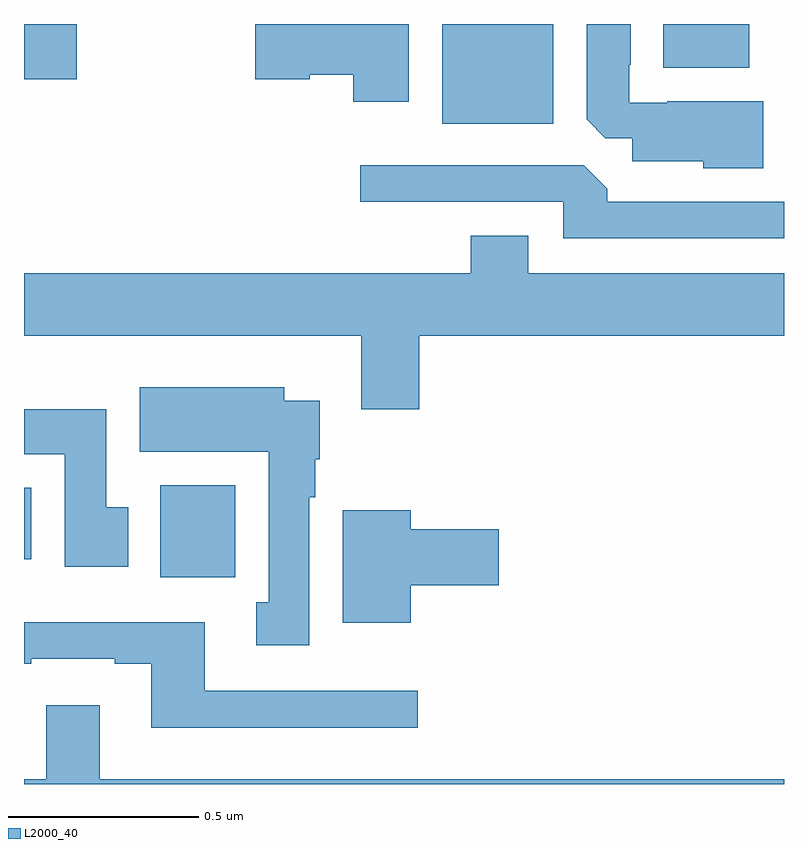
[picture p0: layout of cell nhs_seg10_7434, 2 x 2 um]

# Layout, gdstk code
import gdstk
lib = gdstk.Library(unit=1e-6, precision=1e-09)
def R(c, l, rs):  # rectangles x0, y0, x1, y1
    for r in rs: c.add(gdstk.rectangle(r[:2], r[2:], *l))
def P(c, l, *ps):  # polygons
    for p in ps: c.add(gdstk.Polygon(p, *l))
L2000_40 = (2000, 40)

nhs_seg10_7434 = lib.new_cell('nhs_seg10_7434')
R(nhs_seg10_7434, L2000_40, [(204.359,1269.044,204.556,1269.286), (204,1269.092,204.019,1269.28), (205.1,1270.238,205.393,1270.5), (204,1270.355,204.139,1270.5), (205.682,1270.385,205.909,1270.5)])
P(nhs_seg10_7434, L2000_40, [(205.012,1270.5),(204.609,1270.5),(204.609,1270.355),(204.752,1270.355),(204.752,1270.367),(204.866,1270.367),(204.866,1270.296),(205.012,1270.296)],
  [(205.945,1270.297),(205.693,1270.297),(205.693,1270.293),(205.593,1270.293),(205.593,1270.393),(205.597,1270.393),(205.597,1270.5),(205.481,1270.5),(205.481,1270.249),(205.53,1270.2),(205.601,1270.2),(205.601,1270.139),(205.788,1270.139),(205.788,1270.121),(205.945,1270.121)],
  [(206,1270.032),(205.535,1270.032),(205.535,1270.066),(205.473,1270.128),(204.885,1270.128),(204.885,1270.032),(205.419,1270.032),(205.419,1269.936),(206,1269.936)],
  [(205.04,1269.68),(206,1269.68),(206,1269.844),(205.327,1269.844),(205.327,1269.943),(205.175,1269.943),(205.175,1269.844),(204,1269.844),(204,1269.68),(204.887,1269.68),(204.887,1269.486),(205.04,1269.486)],
  [(204.751,1269.254),(204.766,1269.254),(204.766,1269.354),(204.778,1269.354),(204.778,1269.508),(204.685,1269.508),(204.685,1269.544),(204.305,1269.544),(204.305,1269.374),(204.644,1269.374),(204.644,1268.978),(204.611,1268.978),(204.611,1268.865),(204.751,1268.865)],
  [(204.274,1269.228),(204.217,1269.228),(204.217,1269.486),(204,1269.486),(204,1269.368),(204.107,1269.368),(204.107,1269.072),(204.274,1269.072)],
  [(205.018,1269.023),(205.249,1269.023),(205.249,1269.17),(205.018,1269.17),(205.018,1269.22),(204.839,1269.22),(204.839,1268.924),(205.018,1268.924)],
  [(205.036,1268.745),(204.475,1268.745),(204.475,1268.926),(204,1268.926),(204,1268.817),(204.019,1268.817),(204.019,1268.829),(204.239,1268.829),(204.239,1268.817),(204.335,1268.817),(204.335,1268.648),(205.036,1268.648)],
  [(206,1268.512),(204.199,1268.512),(204.199,1268.707),(204.059,1268.707),(204.059,1268.512),(204,1268.512),(204,1268.5),(206,1268.5)])

lib.write_gds('nhs_seg10_7434.gds')
